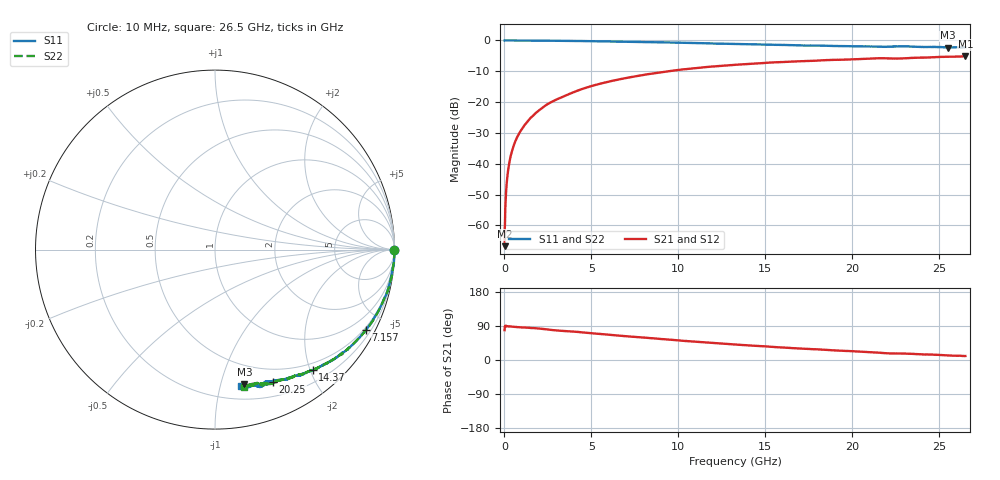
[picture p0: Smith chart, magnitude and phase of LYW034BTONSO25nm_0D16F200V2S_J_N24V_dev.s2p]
!Keysight Technologies,N5222B,MY61253708,A.15.00.15
!Date: Wednesday, June 19, 2024 08:51:05
!Correction: S11(C  2-Port  )
!S21(C  2-Port  )
!S12(C  2-Port  )
!S22(C  2-Port  )
!S2P File: Measurements: S11, S21, S12, S22:
# Hz S  RI  R 50
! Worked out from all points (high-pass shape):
!   2651 points, 10 MHz to 26.5 GHz, reference 50 ohm
!   highest |S21| = -5.12 dB at 26.5 GHz (marker M1); lowest = -66.7 dB at 10 MHz (marker M2)
!   |S21| within 3 dB of the highest: 12.76 GHz to end of sweep
!   lowest |S11| = -2.3 dB at 25.5 GHz (marker M3), VSWR 7.54, Z = 16.4 - j59.5 ohm
!   |S11| at or under -10 dB: nowhere
!   |S22| runs from -2.2 to 0.0 dB; largest |S21 - S12| = 0.0078
!   S11 on the Smith chart (normalised r, x): 10 MHz: open; 7.157 GHz: 0.41, -3.98; 14.37 GHz: 0.38, -2.04; 20.25 GHz: 0.36, -1.47; 26.5 GHz: 0.30, -1.16
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1e7  0.9987 -0.00247  8.93e-05 0.000451  -2.57e-05 0.000397  0.9988 -0.00105
1.599434e8  0.9998 -0.0122  6.7e-05 0.00593  7.26e-05 0.00595  0.9995 -0.0114
2.099245e8  0.9996 -0.0154  0.000115 0.00777  0.000126 0.00782  0.9994 -0.0147
2.699019e8  0.9996 -0.0198  0.000228 0.01  0.000198 0.0101  0.9997 -0.019
3.698642e8  0.9994 -0.0274  0.000377 0.0137  0.000405 0.0137  0.9992 -0.0265
4.998151e8  0.9987 -0.0362  0.000702 0.0185  0.000705 0.0186  0.999 -0.0351
6.597547e8  0.9978 -0.0473  0.00117 0.0243  0.00122 0.0244  0.9982 -0.0461
8.596792e8  0.9975 -0.0614  0.00196 0.0315  0.00196 0.0317  0.9972 -0.061
1.469449e9  0.9889 -0.1059  0.00491 0.0541  0.00491 0.0543  0.9918 -0.1018
2.349117e9  0.9782 -0.1634  0.0129 0.0868  0.0131 0.0873  0.9798 -0.1634
3.198796e9  0.9645 -0.2205  0.0258 0.1144  0.026 0.1149  0.9645 -0.2198
4.428332e9  0.9324 -0.2973  0.0469 0.155  0.0472 0.1558  0.9343 -0.2945
7.157302e9  0.8416 -0.4464  0.1172 0.2216  0.1184 0.2226  0.8442 -0.4447
8.846664e9  0.7747 -0.5207  0.1682 0.2497  0.1696 0.2504  0.7766 -0.5188
1.3255e10  0.5873 -0.6506  0.3042 0.2636  0.3063 0.2635  0.5913 -0.6494
1.437458e10  0.5433 -0.6726  0.3342 0.2568  0.3358 0.2571  0.5471 -0.6687
1.767333e10  0.4112 -0.7164  0.41 0.2243  0.4133 0.223  0.4229 -0.7148
2.025236e10  0.3232 -0.7354  0.4587 0.1913  0.4616 0.1894  0.3404 -0.7355
2.209166e10  0.2794 -0.7386  0.4878 0.154  0.4892 0.1519  0.274 -0.7456
2.308129e10  0.2501 -0.7659  0.4924 0.1487  0.4931 0.1488  0.2511 -0.7475
2.550038e10  0.1642 -0.7481  0.5321 0.1125  0.5334 0.1137  0.1851 -0.7541
2.65e10  0.1466 -0.7626  0.5452 0.1013  0.5442 0.0984  0.1594 -0.7629
